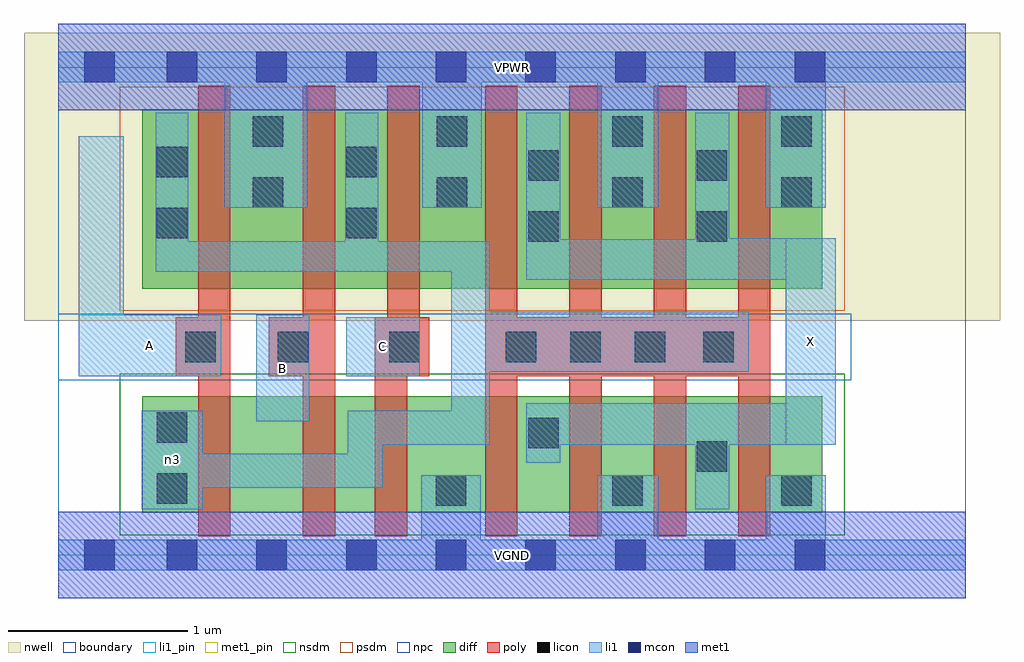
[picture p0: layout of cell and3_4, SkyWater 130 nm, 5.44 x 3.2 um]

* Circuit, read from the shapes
.subckt and3_4 A B C VGND VPWR X n3
XM1 n1 A n3 VSUBS sky130_fd_pr__nfet_01v8 w=0.65 l=0.18
XM2 n2 B n1 VSUBS sky130_fd_pr__nfet_01v8 w=0.65 l=0.18
XM3 VGND C n2 VSUBS sky130_fd_pr__nfet_01v8 w=0.65 l=0.18
XM4 X n3 VGND VSUBS sky130_fd_pr__nfet_01v8 w=0.65 l=0.18 m=4
XM5 VPWR A n3 n4 sky130_fd_pr__pfet_01v8 w=1 l=0.18
XM6 n3 B VPWR n4 sky130_fd_pr__pfet_01v8 w=1 l=0.18
XM7 VPWR C n3 n4 sky130_fd_pr__pfet_01v8 w=1 l=0.18
XM8 X n3 VPWR n4 sky130_fd_pr__pfet_01v8 w=1 l=0.18 m=4
.ends

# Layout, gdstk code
import gdstk
lib = gdstk.Library(unit=1e-6, precision=1e-09)
def R(c, l, rs):  # rectangles x0, y0, x1, y1
    for r in rs: c.add(gdstk.rectangle(r[:2], r[2:], *l))
def A(c, l, x, y, w, h, nx, ny, dx, dy):  # array of equal rectangles
    R(c, l, [(x+i*dx, y+j*dy, x+i*dx+w, y+j*dy+h) for i in range(nx) for j in range(ny)])
nwell = (64, 20)
diff = (65, 20)
poly = (66, 20)
licon = (66, 44)
li1_pin = (67, 16)
li1 = (67, 20)
mcon = (67, 44)
met1_pin = (68, 16)
met1 = (68, 20)
nsdm = (93, 44)
psdm = (94, 20)
npc = (95, 20)
boundary = (235, 4)

and3_4 = lib.new_cell('and3_4')
R(and3_4, nwell, [(-0.19,1.305,5.25,2.91), (0,1.305,5.06,2.91)])
R(and3_4, diff, [(0.47,0.235,4.26,0.885), (0.47,1.485,4.26,2.485)])
A(and3_4, poly, 2.38, 0.105, 0.18, 2.51, 4, 1, 0.47, 0)
R(and3_4, poly, [(0.78,0.105,0.96,2.615), (1.365,0.105,1.545,2.615), (1.765,0.105,1.945,1.325), (0.655,0.995,0.96,1.325), (1.175,0.995,1.545,1.325), (1.765,0.995,2.07,1.325), (1.835,0.995,2.015,2.615), (2.38,0.995,3.97,1.325)])
A(and3_4, licon, 2.495, 1.075, 0.17, 0.17, 3, 1, 0.36, 0)
R(and3_4, licon, [(2.105,0.275,2.275,0.445), (3.09,0.275,3.26,0.445), (4.03,0.275,4.2,0.445), (0.55,0.285,0.72,0.455), (3.56,0.465,3.73,0.635), (2.62,0.595,2.79,0.765), (0.55,0.625,0.72,0.795), (0.71,1.075,0.88,1.245), (1.225,1.075,1.395,1.245), (1.845,1.075,2.015,1.245), (3.595,1.075,3.765,1.245), (2.62,1.745,2.79,1.915), (3.56,1.745,3.73,1.915), (0.55,1.765,0.72,1.935), (1.605,1.765,1.775,1.935), (1.085,1.935,1.255,2.105), (2.11,1.935,2.28,2.105), (3.09,1.935,3.26,2.105), (4.03,1.935,4.2,2.105), (2.62,2.085,2.79,2.255), (3.56,2.085,3.73,2.255), (0.55,2.105,0.72,2.275), (1.605,2.105,1.775,2.275), (1.085,2.275,1.255,2.445), (2.11,2.275,2.28,2.445), (3.09,2.275,3.26,2.445), (4.03,2.275,4.2,2.445)])
R(and3_4, li1_pin, [(4.055,0.615,4.335,1.765), (1.105,0.745,1.4,1.34), (0.115,0.995,0.91,1.34), (1.605,0.995,2.015,1.325)])
R(and3_4, li1, [(0,-0.085,5.06,0.085), (2.025,-0.085,2.355,0.445), (3.005,-0.085,3.345,0.445), (3.945,-0.085,4.28,0.445), (0.465,0.255,0.805,0.805), (3.55,0.255,3.74,0.845), (0.465,0.375,1.81,0.565), (1.615,0.375,1.81,0.805), (2.61,0.515,2.8,0.845), (1.615,0.615,2.405,0.805), (2.19,0.615,2.405,1.75), (2.61,0.615,4.335,0.845), (4.055,0.615,4.335,1.765), (1.105,0.745,1.4,1.34), (0.115,0.995,0.365,2.335), (0.115,0.995,0.91,1.34), (1.605,0.995,2.015,1.325), (2.19,1.02,3.85,1.355), (2.61,1.535,4.335,1.76), (2.61,1.535,2.8,2.465), (3.55,1.535,3.74,2.465), (3.55,1.535,4.335,1.765), (0.545,1.58,2.405,1.75), (0.545,1.58,0.725,2.465), (1.6,1.58,1.785,2.465), (0.93,1.935,1.39,2.805), (2.03,1.935,2.36,2.805), (3.005,1.935,3.345,2.805), (3.945,1.935,4.28,2.805), (0,2.635,5.06,2.805)])
A(and3_4, mcon, 0.605, -0.085, 0.17, 0.17, 8, 2, 0.5, 2.72)
R(and3_4, mcon, [(0.145,-0.085,0.315,0.085), (0.145,2.635,0.315,2.805)])
R(and3_4, met1_pin, [(0,-0.24,5.06,0.24), (0,2.48,5.06,2.96)])
R(and3_4, met1, [(0,-0.24,5.06,0.24), (0,2.48,5.06,2.96)])
R(and3_4, nsdm, [(0.345,0.11,4.385,1.01)])
R(and3_4, psdm, [(0.345,1.36,4.385,2.61)])
R(and3_4, npc, [(0,0.975,4.42,1.345)])
R(and3_4, boundary, [(0,0,5.06,2.72)])
and3_4.add(gdstk.Label('A', (0.512,1.167), layer=67, texttype=5))
and3_4.add(gdstk.Label('B', (1.252,1.042), layer=67, texttype=5))
and3_4.add(gdstk.Label('C', (1.81,1.16), layer=67, texttype=5))
and3_4.add(gdstk.Label('X', (4.195,1.19), layer=67, texttype=5))
and3_4.add(gdstk.Label('n3', (0.635,0.53), layer=67, texttype=5))
and3_4.add(gdstk.Label('VPWR', (2.53,2.72), layer=68, texttype=5))
and3_4.add(gdstk.Label('VGND', (2.53,0), layer=68, texttype=5))
and3_4.add(gdstk.Label('A', (0.512,1.167), layer=67, texttype=16))
and3_4.add(gdstk.Label('B', (1.252,1.042), layer=67, texttype=16))
and3_4.add(gdstk.Label('C', (1.81,1.16), layer=67, texttype=16))
and3_4.add(gdstk.Label('X', (4.195,1.19), layer=67, texttype=16))
and3_4.add(gdstk.Label('VPWR', (2.53,2.72), layer=68, texttype=16))
and3_4.add(gdstk.Label('VGND', (2.53,0), layer=68, texttype=16))

lib.write_gds('and3_4.gds')
